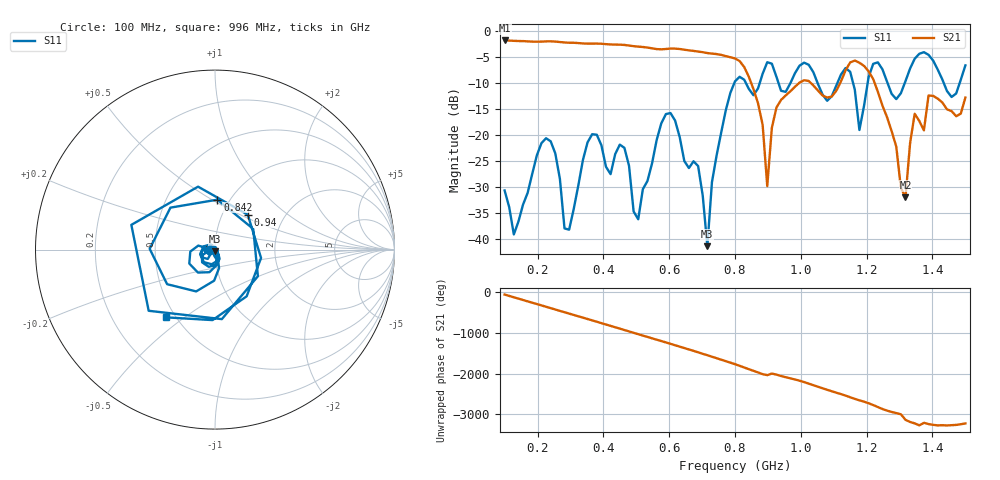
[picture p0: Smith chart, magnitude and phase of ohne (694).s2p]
! NanoVNA-App
! Date: 2025-09-25 14:26:12
! Start: 100MHz Stop: 1,5GHz Points: 101
! S-Parameter data: F S11 S21 S12 S22
# Hz S RI R 50
!  Frequency  S11_Real  S11_Imag  S21_Real  S21_Imag  S12_Real  S12_Imag  S22_Real  S22_Imag
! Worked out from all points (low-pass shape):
!   101 points, 100 MHz to 1.5 GHz, reference 50 ohm
!   highest |S21| = -1.79 dB at 100 MHz (marker M1); lowest = -32.0 dB at 1.318 GHz (marker M2)
!   |S21| within 3 dB of the highest: start of sweep to 771.5 MHz
!   lowest |S11| = -41.4 dB at 716 MHz (marker M3), VSWR 1.02, Z = 49.9 - j0.843 ohm
!   |S11| at or under -10 dB: start of sweep to 797.8 MHz; 833.2 MHz to 875 MHz (41.82 MHz wide, 4.9 % of centre); 1.051 GHz to 1.111 GHz (59.88 MHz wide, 5.54 % of centre) (the widest 3 of 7)
!   S12 and S22 are empty: the file has one direction only
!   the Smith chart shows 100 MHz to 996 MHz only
!   S11 on the Smith chart (normalised r, x): 100 MHz: 0.94, -0.01; 842 MHz: 0.88, +0.53; 940 MHz: 1.32, +0.55; 996 MHz: 0.45, -0.43
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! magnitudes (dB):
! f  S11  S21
! 100 MHz  -30.6  -1.8
! 128 MHz  -39.1  -1.9
! 226 MHz  -20.6  -2.0
! 296 MHz  -38.2  -2.2
! 338 MHz  -24.8  -2.4
! 464 MHz  -22.4  -2.7
! 506 MHz  -36.2  -3.0
! 576 MHz  -17.7  -3.5
! 688 MHz  -25.9  -3.9
! 716 MHz  -41.4  -4.2
! 800 MHz  -9.7  -5.3
! 842 MHz  -11.1  -8.8
! 898 MHz  -6.0  -29.8
! 940 MHz  -11.5  -13.2
! 996 MHz  -6.6  -9.9
! 1.038 GHz  -7.9  -10.4
! 1.178 GHz  -19.0  -6.1
! 1.22 GHz  -6.3  -9.2
! 1.276 GHz  -12.1  -19.2
! 1.318 GHz  -9.6  -32.0
! 1.346 GHz  -5.3  -15.9
! 1.5 GHz  -6.6  -12.8
